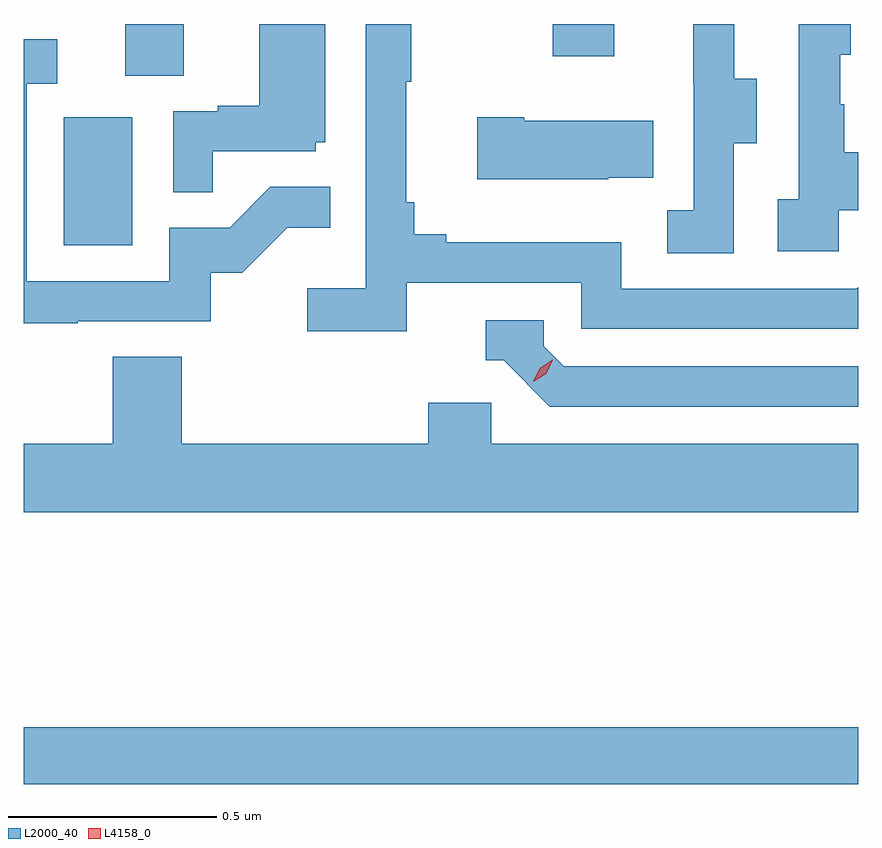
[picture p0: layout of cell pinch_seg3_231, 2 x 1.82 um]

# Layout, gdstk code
import gdstk
lib = gdstk.Library(unit=1e-6, precision=1e-09)
def R(c, l, rs):  # rectangles x0, y0, x1, y1
    for r in rs: c.add(gdstk.rectangle(r[:2], r[2:], *l))
def P(c, l, *ps):  # polygons
    for p in ps: c.add(gdstk.Polygon(p, *l))
L2000_40 = (2000, 40)
L4158_0 = (4158, 0)

pinch_seg3_231 = lib.new_cell('pinch_seg3_231')
R(pinch_seg3_231, L2000_40, [(925.13,732.232,927.13,732.368), (925.226,733.524,925.39,733.831), (925.373,733.93,925.513,734.054), (926.398,733.977,926.545,734.054)])
P(pinch_seg3_231, L2000_40, [(926.048,733.434),(926.466,733.434),(926.466,733.323),(927.13,733.323),(927.13,733.423),(927.126,733.419),(926.562,733.419),(926.562,733.531),(926.143,733.531),(926.143,733.55),(926.066,733.55),(926.066,733.627),(926.047,733.627),(926.047,733.915),(926.059,733.915),(926.059,734.054),(925.95,734.054),(925.95,733.42),(925.809,733.42),(925.809,733.318),(926.048,733.318)],
  [(926.832,733.768),(926.887,733.768),(926.887,733.923),(926.833,733.923),(926.833,734.054),(926.735,734.054),(926.735,733.911),(926.736,733.911),(926.736,733.607),(926.673,733.607),(926.673,733.504),(926.832,733.504)],
  [(927.084,733.607),(927.13,733.607),(927.13,733.747),(927.097,733.747),(927.097,733.862),(927.087,733.862),(927.087,733.98),(927.112,733.98),(927.112,734.054),(926.988,734.054),(926.988,733.634),(926.937,733.634),(926.937,733.509),(927.084,733.509)],
  [(925.583,733.749),(925.83,733.749),(925.83,733.77),(925.852,733.77),(925.852,734.054),(925.694,734.054),(925.694,733.858),(925.595,733.858),(925.595,733.845),(925.488,733.845),(925.488,733.651),(925.583,733.651)],
  [(925.259,733.341),(925.578,733.341),(925.578,733.458),(925.654,733.458),(925.761,733.565),(925.865,733.565),(925.865,733.664),(925.721,733.664),(925.623,733.566),(925.479,733.566),(925.479,733.437),(925.137,733.437),(925.137,733.911),(925.21,733.911),(925.21,734.017),(925.13,734.017),(925.13,733.336),(925.259,733.336)],
  [(926.531,733.685),(926.639,733.685),(926.639,733.822),(926.329,733.822),(926.329,733.83),(926.217,733.83),(926.217,733.682),(926.531,733.682)],
  [(927.13,733.233),(926.424,733.233),(926.376,733.281),(926.376,733.344),(926.237,733.344),(926.237,733.248),(926.28,733.248),(926.391,733.137),(927.13,733.137)],
  [(927.13,733.048),(926.25,733.048),(926.25,733.146),(926.099,733.146),(926.099,733.048),(925.508,733.048),(925.508,733.256),(925.343,733.256),(925.343,733.048),(925.13,733.048),(925.13,732.884),(927.13,732.884)])
P(pinch_seg3_231, L4158_0, [(926.351,733.196),(926.351,733.196),(926.367,733.229),(926.398,733.249),(926.398,733.249),(926.398,733.249),(926.382,733.216),(926.351,733.196)])

lib.write_gds('pinch_seg3_231.gds')
